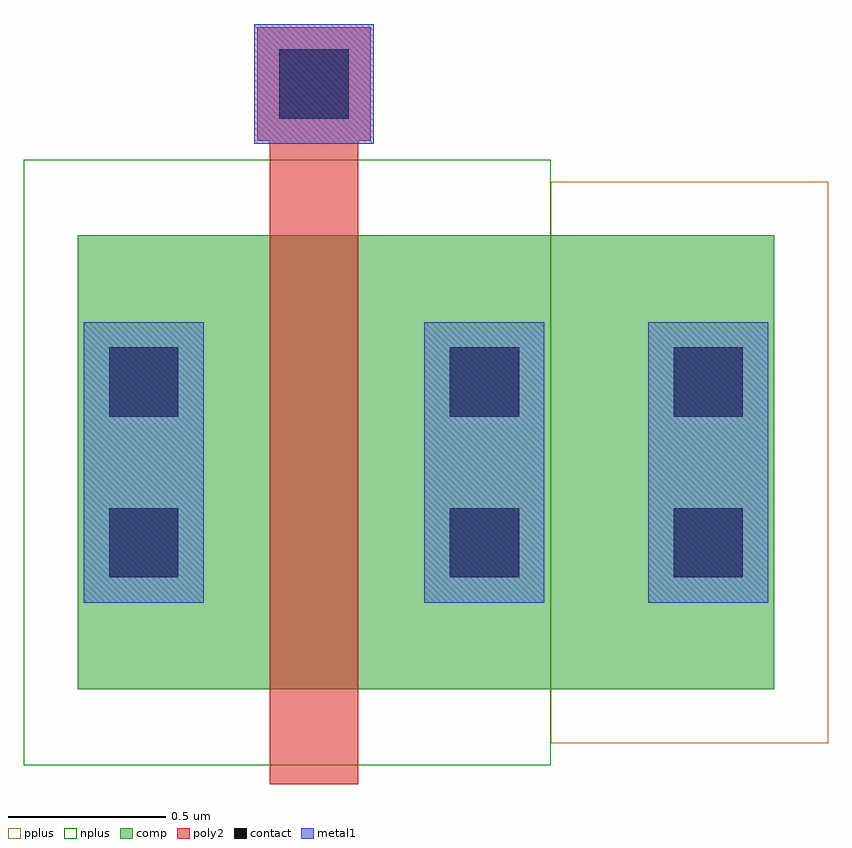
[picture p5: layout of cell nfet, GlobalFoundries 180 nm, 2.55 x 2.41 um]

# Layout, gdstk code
import gdstk
lib = gdstk.Library(unit=1e-6, precision=1e-09)
def R(c, l, rs):  # rectangles x0, y0, x1, y1
    for r in rs: c.add(gdstk.rectangle(r[:2], r[2:], *l))
comp = (22, 0)
poly2 = (30, 0)
pplus = (31, 0)
nplus = (32, 0)
contact = (33, 0)
metal1 = (34, 0)

nfet = lib.new_cell('nfet')
R(nfet, comp, [(-0.42,0,0,1.44), (0,0,0.66,1.44), (0.66,0,1.08,1.44), (1.08,0,1.79,1.44)])
R(nfet, poly2, [(0.19,-0.3,0.47,1.74), (0.15,1.74,0.51,2.1)])
R(nfet, pplus, [(1.08,-0.17,1.96,1.61)])
R(nfet, nplus, [(-0.59,-0.24,1.08,1.68)])
R(nfet, contact, [(-0.32,0.355,-0.1,0.575), (0.76,0.355,0.98,0.575), (1.47,0.355,1.69,0.575), (-0.32,0.865,-0.1,1.085), (0.76,0.865,0.98,1.085), (1.47,0.865,1.69,1.085), (0.22,1.81,0.44,2.03)])
R(nfet, metal1, [(-0.4,0.275,-0.02,1.165), (0.68,0.275,1.06,1.165), (1.39,0.275,1.77,1.165), (0.14,1.73,0.52,2.11)])

lib.write_gds('nfet.gds')
